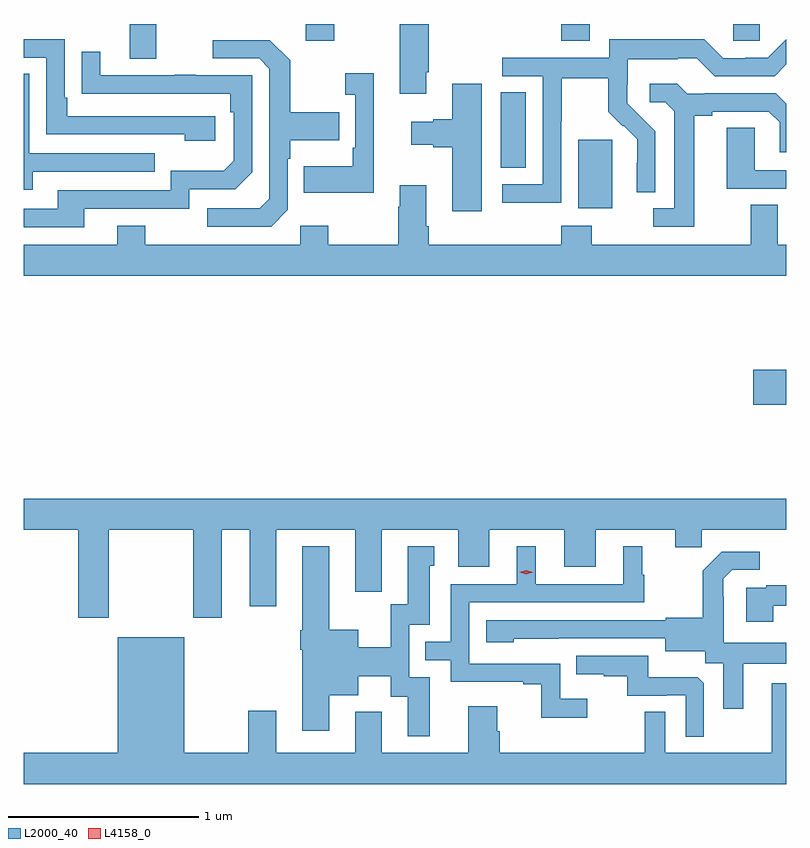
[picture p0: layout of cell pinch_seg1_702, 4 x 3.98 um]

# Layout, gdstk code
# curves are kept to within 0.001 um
import gdstk
lib = gdstk.Library(unit=1e-6, precision=1e-09)
def R(c, l, rs):  # rectangles x0, y0, x1, y1
    for r in rs: c.add(gdstk.rectangle(r[:2], r[2:], *l))
def P(c, l, *ps):  # polygons
    for p in ps: c.add(gdstk.Polygon(p, *l))
L2000_40 = (2000, 40)
L4158_0 = (4158, 0)

pinch_seg1_702 = lib.new_cell('pinch_seg1_702')
R(pinch_seg1_702, L2000_40, [(639.99,576.365,640.163,576.548), (639.071,577.394,639.25,577.755), (638.666,577.606,638.797,578.003), (636.719,578.178,636.859,578.361), (637.643,578.273,637.791,578.361), (638.981,578.273,639.133,578.361), (639.885,578.274,640.023,578.361)])
P(pinch_seg1_702, L2000_40, [(638.275,578.107),(638.288,578.107),(638.288,578.361),(638.135,578.361),(638.135,577.995),(638.275,577.995)],
  [(638.982,577.852),(638.985,577.852),(638.985,578.076),(639.229,578.076),(639.229,577.901),(639.306,577.824),(639.309,577.827),(639.38,577.757),(639.38,577.634),(639.378,577.634),(639.378,577.48),(639.474,577.48),(639.474,577.798),(639.328,577.946),(639.328,578.043),(639.33,578.043),(639.33,578.177),(639.593,578.177),(639.593,578.181),(639.693,578.181),(639.786,578.088),(640.101,578.088),(640.163,578.15),(640.163,578.28),(640.161,578.28),(640.065,578.184),(639.947,578.184),(639.947,578.181),(639.831,578.181),(639.731,578.281),(639.234,578.281),(639.234,578.184),(638.673,578.184),(638.673,578.088),(638.886,578.088),(638.886,577.521),(638.673,577.521),(638.673,577.423),(638.982,577.423)],
  [(637.168,577.878),(636.391,577.878),(636.391,577.975),(636.378,577.975),(636.378,578.28),(636.163,578.28),(636.163,578.184),(636.282,578.184),(636.282,577.782),(637.007,577.782),(637.007,577.748),(637.168,577.748)],
  [(637.548,577.386),(637.548,577.655),(637.561,577.655),(637.561,577.751),(637.817,577.751),(637.817,577.899),(637.561,577.899),(637.561,578.171),(637.455,578.277),(637.155,578.277),(637.155,578.181),(637.398,578.181),(637.452,578.127),(637.452,577.446),(637.401,577.395),(637.125,577.395),(637.125,577.299),(637.461,577.299)],
  [(636.481,577.392),(637.032,577.392),(637.032,577.494),(637.272,577.494),(637.362,577.584),(637.362,578.091),(637.067,578.091),(637.067,578.096),(636.955,578.096),(636.955,578.091),(636.565,578.091),(636.565,578.215),(636.469,578.215),(636.469,577.996),(637.246,577.995),(637.246,577.898),(637.266,577.898),(637.266,577.644),(637.213,577.591),(636.936,577.591),(636.936,577.488),(636.341,577.488),(636.341,577.392),(636.163,577.392),(636.163,577.296),(636.481,577.296)],
  [(638,578.104),(637.851,578.104),(637.851,577.991),(637.902,577.991),(637.902,577.711),(637.89,577.711),(637.89,577.615),(637.633,577.615),(637.633,577.475),(638,577.475)],
  [(636.211,577.587),(636.851,577.587),(636.851,577.683),(636.192,577.683),(636.192,578.099),(636.163,578.099),(636.163,577.493),(636.211,577.493)],
  [(638.566,578.047),(638.411,578.047),(638.411,577.862),(638.312,577.862),(638.312,577.849),(638.196,577.849),(638.196,577.727),(638.312,577.727),(638.312,577.715),(638.411,577.715),(638.411,577.38),(638.566,577.38)],
  [(639.679,577.88),(639.775,577.88),(639.775,577.902),(640.07,577.902),(640.127,577.845),(640.127,577.689),(640.163,577.689),(640.163,577.943),(640.108,577.998),(639.736,577.998),(639.736,577.995),(639.642,577.995),(639.59,578.047),(639.447,578.047),(639.447,577.95),(639.528,577.95),(639.575,577.903),(639.575,577.395),(639.465,577.395),(639.465,577.299),(639.679,577.299)],
  [(640.163,577.593),(639.996,577.593),(639.996,577.817),(639.851,577.817),(639.851,577.497),(640.163,577.497)],
  [(640.163,577.204),(640.117,577.204),(640.117,577.412),(639.977,577.412),(639.977,577.204),(639.141,577.204),(639.141,577.303),(638.981,577.303),(638.981,577.204),(638.288,577.204),(638.288,577.3),(638.275,577.3),(638.275,577.516),(638.135,577.516),(638.135,577.403),(638.128,577.403),(638.128,577.204),(637.761,577.204),(637.761,577.303),(637.614,577.303),(637.614,577.204),(636.801,577.204),(636.801,577.303),(636.653,577.303),(636.653,577.204),(636.163,577.204),(636.163,577.04),(640.163,577.04)],
  [(636.163,575.708),(636.449,575.708),(636.449,575.247),(636.609,575.247),(636.609,575.708),(637.054,575.708),(637.054,575.247),(637.201,575.247),(637.201,575.708),(637.349,575.708),(637.349,575.307),(637.489,575.307),(637.489,575.708),(637.901,575.708),(637.901,575.385),(638.041,575.385),(638.041,575.708),(638.441,575.708),(638.441,575.514),(638.605,575.514),(638.605,575.708),(638.999,575.708),(638.999,575.514),(639.163,575.514),(639.163,575.708),(639.581,575.708),(639.581,575.618),(639.719,575.618),(639.719,575.708),(640.163,575.708),(640.163,575.872),(636.163,575.872)],
  [(639.118,574.822),(638.976,574.822),(638.976,575.007),(638.499,575.007),(638.499,575.328),(639.418,575.328),(639.418,575.472),(639.406,575.472),(639.406,575.623),(639.308,575.623),(639.308,575.424),(638.848,575.424),(638.848,575.623),(638.75,575.623),(638.75,575.424),(638.403,575.424),(638.403,575.121),(638.269,575.121),(638.269,575.025),(638.403,575.025),(638.403,574.911),(638.783,574.911),(638.783,574.899),(638.878,574.899),(638.878,574.724),(639.118,574.724)],
  [(638.293,574.935),(638.184,574.935),(638.184,575.211),(638.293,575.211),(638.293,575.52),(638.317,575.52),(638.317,575.623),(638.177,575.623),(638.177,575.319),(638.088,575.319),(638.088,575.092),(637.918,575.092),(637.918,575.185),(637.765,575.185),(637.765,575.623),(637.625,575.623),(637.625,575.181),(637.613,575.181),(637.613,575.081),(637.625,575.081),(637.625,574.656),(637.765,574.656),(637.765,574.841),(637.918,574.841),(637.918,574.94),(638.087,574.94),(638.087,574.834),(638.177,574.834),(638.177,574.626),(638.293,574.626)],
  [(639.937,575.006),(640.163,575.006),(640.163,575.116),(639.834,575.116),(639.834,575.357),(639.832,575.357),(639.832,575.452),(639.879,575.499),(640.024,575.499),(640.024,575.593),(639.823,575.593),(639.723,575.493),(639.723,575.248),(639.531,575.248),(639.531,575.235),(638.589,575.235),(638.589,575.12),(638.733,575.12),(638.733,575.138),(639.527,575.139),(639.527,575.072),(639.738,575.072),(639.738,575.008),(639.833,575.008),(639.833,574.77),(639.937,574.77)],
  [(640.093,575.31),(640.163,575.31),(640.163,575.419),(640.057,575.419),(640.057,575.406),(639.953,575.406),(639.953,575.226),(640.093,575.226)],
  [(640.163,574.903),(640.085,574.903),(640.085,574.54),(639.528,574.54),(639.528,574.754),(639.42,574.754),(639.42,574.54),(638.66,574.54),(638.66,574.653),(638.647,574.653),(638.647,574.783),(638.495,574.783),(638.495,574.54),(638.041,574.54),(638.041,574.756),(637.901,574.756),(637.901,574.54),(637.489,574.54),(637.489,574.759),(637.342,574.759),(637.342,574.54),(637.006,574.54),(637.006,575.146),(636.656,575.146),(636.656,574.54),(636.163,574.54),(636.163,574.376),(640.163,574.376)],
  [(639.729,574.905),(639.697,574.937),(639.439,574.937),(639.439,575.049),(639.061,575.049),(639.061,574.952),(639.205,574.952),(639.205,574.941),(639.329,574.941),(639.329,574.839),(639.536,574.839),(639.536,574.842),(639.636,574.842),(639.636,574.625),(639.729,574.625)])
P(pinch_seg1_702, L4158_0, [(638.799,575.476),(638.764,575.486),(638.764,575.486),(638.764,575.486),(638.799,575.496),(638.834,575.486),(638.835,575.486),(638.834,575.486)])

lib.write_gds('pinch_seg1_702.gds')
